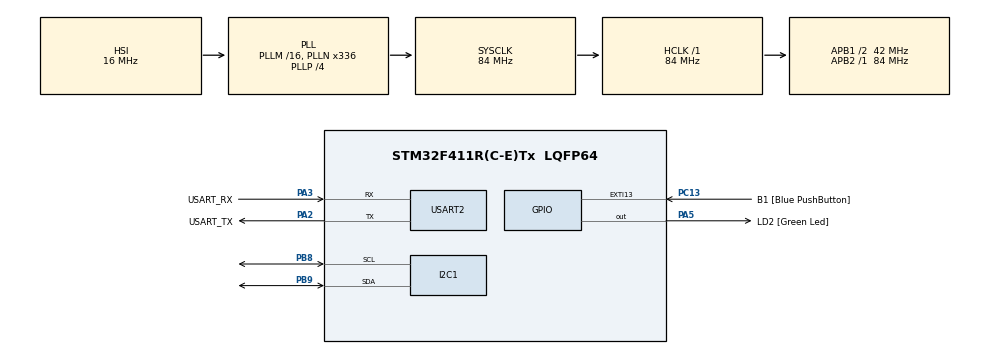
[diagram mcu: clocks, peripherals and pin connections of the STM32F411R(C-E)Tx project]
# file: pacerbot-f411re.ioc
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FREERTOS.Tasks01=defaultTask,24,128,StartDefaultTask,Default,NULL,Dynamic,NULL,NULL
FREERTOS.configENABLE_FPU=1
Mcu.Family=STM32F4
Mcu.Name=STM32F411R(C-E)Tx
Mcu.Package=LQFP64
NVIC.PriorityGroup=NVIC_PRIORITYGROUP_4
PA13.GPIO_Label=TMS
PA13.Mode=Serial_Wire
PA13.Signal=SYS_JTMS-SWDIO
PA14.GPIO_Label=TCK
PA14.Mode=Serial_Wire
PA14.Signal=SYS_JTCK-SWCLK
PA2.GPIO_Label=USART_TX
PA2.Mode=Asynchronous
PA2.Signal=USART2_TX
PA3.GPIO_Label=USART_RX
PA3.Mode=Asynchronous
PA3.Signal=USART2_RX
PA5.GPIO_Label=LD2 [Green Led]
PA5.Signal=GPIO_Output
PB3.GPIO_Label=SWO
PB3.Signal=SYS_JTDO-SWO
PB8.Mode=I2C
PB8.Signal=I2C1_SCL
PB9.Mode=I2C
PB9.Signal=I2C1_SDA
PC13-ANTI_TAMP.GPIO_Label=B1 [Blue PushButton]
PC13-ANTI_TAMP.GPIO_ModeDefaultEXTI=GPIO_MODE_IT_FALLING
PC13-ANTI_TAMP.Signal=GPXTI13
PC14-OSC32_IN.Mode=LSE-External-Oscillator
PC14-OSC32_IN.Signal=RCC_OSC32_IN
PC15-OSC32_OUT.Mode=LSE-External-Oscillator
PC15-OSC32_OUT.Signal=RCC_OSC32_OUT
PH0\ -\ OSC_IN.Mode=HSE-External-Clock-Source
PH0\ -\ OSC_IN.Signal=RCC_OSC_IN
PH1\ -\ OSC_OUT.Mode=HSE-External-Clock-Source
PH1\ -\ OSC_OUT.Signal=RCC_OSC_OUT
ProjectManager.HeapSize=0x200
ProjectManager.StackSize=0x400
ProjectManager.TargetToolchain=STM32CubeIDE
RCC.48MHZClocksFreq_Value=84000000
RCC.AHBFreq_Value=84000000
RCC.APB1CLKDivider=RCC_HCLK_DIV2
RCC.APB1Freq_Value=42000000
RCC.APB1TimFreq_Value=84000000
RCC.APB2Freq_Value=84000000
RCC.APB2TimFreq_Value=84000000
RCC.CortexFreq_Value=84000000
RCC.FLatency-AdvancedSettings=FLASH_LATENCY_2
RCC.HCLKFreq_Value=84000000
RCC.HSE_VALUE=8000000
RCC.HSI_VALUE=16000000
RCC.PLLN=336
RCC.PLLP=RCC_PLLP_DIV4
RCC.SYSCLKFreq_VALUE=84000000
RCC.SYSCLKSource=RCC_SYSCLKSOURCE_PLLCLK
RCC.VCOOutputFreq_Value=336000000
USART2.VirtualMode=VM_ASYNC
VP_FREERTOS_VS_CMSIS_V2.Mode=CMSIS_V2
board=NUCLEO-F411RE

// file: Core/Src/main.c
/* USER CODE BEGIN Header */
/**
  ******************************************************************************
  * @file           : main.c
  * @brief          : Main program body
  ******************************************************************************
  * @attention
  *
  * Copyright (c) 2025 STMicroelectronics.
  * All rights reserved.
  *
  * This software is licensed under terms that can be found in the LICENSE file
  * in the root directory of this software component.
  * If no LICENSE file comes with this software, it is provided AS-IS.
  *
  ******************************************************************************
  */
/* USER CODE END Header */
#include "main.h"
#include "cmsis_os.h"
#include "mpu6050.h"
#include "stdio.h"
#include "string.h"

I2C_HandleTypeDef hi2c1;

UART_HandleTypeDef huart2;

/* Definitions for defaultTask */
osThreadId_t defaultTaskHandle;
const osThreadAttr_t defaultTask_attributes = {
  .name = "defaultTask",
  .stack_size = 128 * 4,
  .priority = (osPriority_t) osPriorityNormal,
};

void SystemClock_Config(void);
static void MX_GPIO_Init(void);
static void MX_USART2_UART_Init(void);
static void MX_I2C1_Init(void);
void StartDefaultTask(void *argument);

int main(void)
{

  /* MCU Configuration--------------------------------------------------------*/

  /* Reset of all peripherals, Initializes the Flash interface and the Systick. */
  HAL_Init();

  /* Configure the system clock */
  SystemClock_Config();

  /* Initialize all configured peripherals */
  MX_GPIO_Init();
  MX_USART2_UART_Init();
  MX_I2C1_Init();
  /* USER CODE BEGIN 2 */
  setbuf(stdout, NULL); // make printf unbuffered
  printf("\r\nUART printf ready\r\n");

  /* USER CODE END 2 */

  /* Init scheduler */
  osKernelInitialize();

  /* Create the thread(s) */
  /* creation of defaultTask */
  defaultTaskHandle = osThreadNew(StartDefaultTask, NULL, &defaultTask_attributes);

  /* Start scheduler */
  osKernelStart();

  /* We should never get here as control is now taken by the scheduler */

  /* Infinite loop */
  /* USER CODE BEGIN WHILE */
<<<<<<< HEAD
  while (1)
  {
	HAL_GPIO_TogglePin(GPIOA, GPIO_PIN_5);
	HAL_Delay(1000);
    /* USER CODE END WHILE */
||||||| parent of 26b7a51 (got printing working over UART2 and testing read from mpu)
  while (1)
  {
    /* USER CODE END WHILE */
=======
  while (1);

>>>>>>> 26b7a51 (got printing working over UART2 and testing read from mpu)

  /* USER CODE END 3 */
}

void SystemClock_Config(void)
{
  RCC_OscInitTypeDef RCC_OscInitStruct = {0};
  RCC_ClkInitTypeDef RCC_ClkInitStruct = {0};

  /** Configure the main internal regulator output voltage
  */
  __HAL_RCC_PWR_CLK_ENABLE();
  __HAL_PWR_VOLTAGESCALING_CONFIG(PWR_REGULATOR_VOLTAGE_SCALE1);

  /** Initializes the RCC Oscillators according to the specified parameters
  * in the RCC_OscInitTypeDef structure.
  */
  RCC_OscInitStruct.OscillatorType = RCC_OSCILLATORTYPE_HSI;
  RCC_OscInitStruct.HSIState = RCC_HSI_ON;
  RCC_OscInitStruct.HSICalibrationValue = RCC_HSICALIBRATION_DEFAULT;
  RCC_OscInitStruct.PLL.PLLState = RCC_PLL_ON;
  RCC_OscInitStruct.PLL.PLLSource = RCC_PLLSOURCE_HSI;
  RCC_OscInitStruct.PLL.PLLM = 16;
  RCC_OscInitStruct.PLL.PLLN = 336;
  RCC_OscInitStruct.PLL.PLLP = RCC_PLLP_DIV4;
  RCC_OscInitStruct.PLL.PLLQ = 4;
  if (HAL_RCC_OscConfig(&RCC_OscInitStruct) != HAL_OK)
  {
    Error_Handler();
  }

  /** Initializes the CPU, AHB and APB buses clocks
  */
  RCC_ClkInitStruct.ClockType = RCC_CLOCKTYPE_HCLK|RCC_CLOCKTYPE_SYSCLK
                              |RCC_CLOCKTYPE_PCLK1|RCC_CLOCKTYPE_PCLK2;
  RCC_ClkInitStruct.SYSCLKSource = RCC_SYSCLKSOURCE_PLLCLK;
  RCC_ClkInitStruct.AHBCLKDivider = RCC_SYSCLK_DIV1;
  RCC_ClkInitStruct.APB1CLKDivider = RCC_HCLK_DIV2;
  RCC_ClkInitStruct.APB2CLKDivider = RCC_HCLK_DIV1;

  if (HAL_RCC_ClockConfig(&RCC_ClkInitStruct, FLASH_LATENCY_2) != HAL_OK)
  {
    Error_Handler();
  }
}

static void MX_I2C1_Init(void)
{

  hi2c1.Instance = I2C1;
  hi2c1.Init.ClockSpeed = 100000;
  hi2c1.Init.DutyCycle = I2C_DUTYCYCLE_2;
  hi2c1.Init.OwnAddress1 = 0;
  hi2c1.Init.AddressingMode = I2C_ADDRESSINGMODE_7BIT;
  hi2c1.Init.DualAddressMode = I2C_DUALADDRESS_DISABLE;
  hi2c1.Init.OwnAddress2 = 0;
  hi2c1.Init.GeneralCallMode = I2C_GENERALCALL_DISABLE;
  hi2c1.Init.NoStretchMode = I2C_NOSTRETCH_DISABLE;
  if (HAL_I2C_Init(&hi2c1) != HAL_OK)
  {
    Error_Handler();
  }

}

static void MX_USART2_UART_Init(void)
{

  huart2.Instance = USART2;
  huart2.Init.BaudRate = 115200;
  huart2.Init.WordLength = UART_WORDLENGTH_8B;
  huart2.Init.StopBits = UART_STOPBITS_1;
  huart2.Init.Parity = UART_PARITY_NONE;
  huart2.Init.Mode = UART_MODE_TX_RX;
  huart2.Init.HwFlowCtl = UART_HWCONTROL_NONE;
  huart2.Init.OverSampling = UART_OVERSAMPLING_16;
  if (HAL_UART_Init(&huart2) != HAL_OK)
  {
    Error_Handler();
  }

}

static void MX_GPIO_Init(void)
{
  GPIO_InitTypeDef GPIO_InitStruct = {0};

  /* GPIO Ports Clock Enable */
  __HAL_RCC_GPIOC_CLK_ENABLE();
  __HAL_RCC_GPIOH_CLK_ENABLE();
  __HAL_RCC_GPIOA_CLK_ENABLE();
  __HAL_RCC_GPIOB_CLK_ENABLE();

  /*Configure GPIO pin Output Level */
  HAL_GPIO_WritePin(LD2_GPIO_Port, LD2_Pin, GPIO_PIN_RESET);

  /*Configure GPIO pin : B1_Pin */
  GPIO_InitStruct.Pin = B1_Pin;
  GPIO_InitStruct.Mode = GPIO_MODE_IT_FALLING;
  GPIO_InitStruct.Pull = GPIO_NOPULL;
  HAL_GPIO_Init(B1_GPIO_Port, &GPIO_InitStruct);

  /*Configure GPIO pin : LD2_Pin */
  GPIO_InitStruct.Pin = LD2_Pin;
  GPIO_InitStruct.Mode = GPIO_MODE_OUTPUT_PP;
  GPIO_InitStruct.Pull = GPIO_NOPULL;
  GPIO_InitStruct.Speed = GPIO_SPEED_FREQ_LOW;
  HAL_GPIO_Init(LD2_GPIO_Port, &GPIO_InitStruct);

}

/* USER CODE BEGIN 4 */
/* USER CODE BEGIN 4 */
static const uint8_t MPU_ADDR = 0x68; // 0x69 if AD0=1

void testMPU6050(void)
{
    HAL_StatusTypeDef st;
    uint8_t val;

    // (a) Optional full device reset
    val = 0x80; // DEVICE_RESET
    st = HAL_I2C_Mem_Write(&hi2c1, MPU_ADDR<<1, 0x6B, I2C_MEMADD_SIZE_8BIT, &val, 1, 100);
    HAL_Delay(100);

    // (b) Wake + select PLL X-gyro clock (CLKSEL=1, SLEEP=0) => 0x01
    val = 0x01;
    st = HAL_I2C_Mem_Write(&hi2c1, MPU_ADDR<<1, 0x6B, I2C_MEMADD_SIZE_8BIT, &val, 1, 100);
    HAL_Delay(10);

    // (c) Read back PWR_MGMT_1 to verify
    val = 0;
    st = HAL_I2C_Mem_Read(&hi2c1, MPU_ADDR<<1, 0x6B, I2C_MEMADD_SIZE_8BIT, &val, 1, 100);
    printf("PWR_MGMT_1 = 0x%02X\r\n", val);  // expect 0x01

    // (d) WHO_AM_I should be 0x68 on genuine 6050
    uint8_t who = 0;
    st = HAL_I2C_Mem_Read(&hi2c1, MPU_ADDR<<1, 0x75, I2C_MEMADD_SIZE_8BIT, &who, 1, 100);
    printf("WHO_AM_I = 0x%02X\r\n", who);     // expect 0x68
}

/* USER CODE END 4 */

/* USER CODE END 4 */

/* USER CODE END 4 */

void StartDefaultTask(void *argument)
{
  /* USER CODE BEGIN 5 */
	// Go through all possible i2c addresses
  printf("Hello world\n");
  for (uint8_t i = 0; i < 128; i++) {

	  if (HAL_I2C_IsDeviceReady(&hi2c1, (uint16_t)(i<<1), 3, 5) == HAL_OK) {
		  // We got an ack
		  printf("%2x ", i);
	  } else {
		  printf("-- ");
	  }

	  if (i > 0 && (i + 1) % 16 == 0) printf("\n");

  }

  printf("\n");
  printf("Testing MPU6050...\r\n");
  testMPU6050();

  for(;;){
    osDelay(1);
  }
  /* USER CODE END 5 */
}

void Error_Handler(void)
{
  __disable_irq();
  while (1)
  {
  }
}
